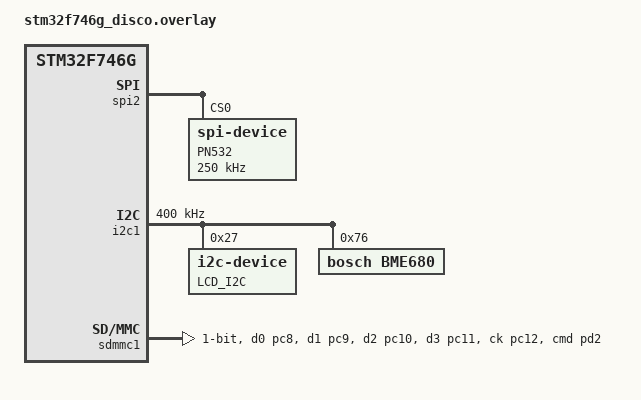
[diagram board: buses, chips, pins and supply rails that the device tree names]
/* STM32F746G-DISCO : Overlay Nettoyé pour Contrôle Manuel */

&spi2 {
	status = "okay";
    /* IMPORTANT : Pas de cs-gpios ici, on le gère dans le code C */

	pn532: pn532@0 {
		compatible = "zephyr,spi-device";
		reg = <0>;
		spi-max-frequency = <250000>; /* 250 kHz (Vital pour F7) */
		label = "PN532";
	};
};

/* Le reste (I2C, SD...) ne change pas */
&i2c1 {
	status = "okay";
	clock-frequency = <400000>;
    lcd0: lcd@27 {
        compatible = "i2c-device";
        reg = <0x27>;
        label = "LCD_I2C";
    };
    bme680: bme680@76 {
        compatible = "bosch,bme680";
        reg = <0x76>; 
        label = "BME680";
    };
};

/ {
    aliases {
        sdhc0 = &sdmmc1;
    };
};

&sdmmc1 {
    status = "okay";
    pinctrl-0 = <&sdmmc1_d0_pc8 &sdmmc1_d1_pc9 &sdmmc1_d2_pc10 &sdmmc1_d3_pc11 &sdmmc1_ck_pc12 &sdmmc1_cmd_pd2>;
    pinctrl-names = "default";
    /delete-property/ cd-gpios;
    bus-width = <1>;
    /delete-property/ dmas;
    /delete-property/ dma-names;
};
